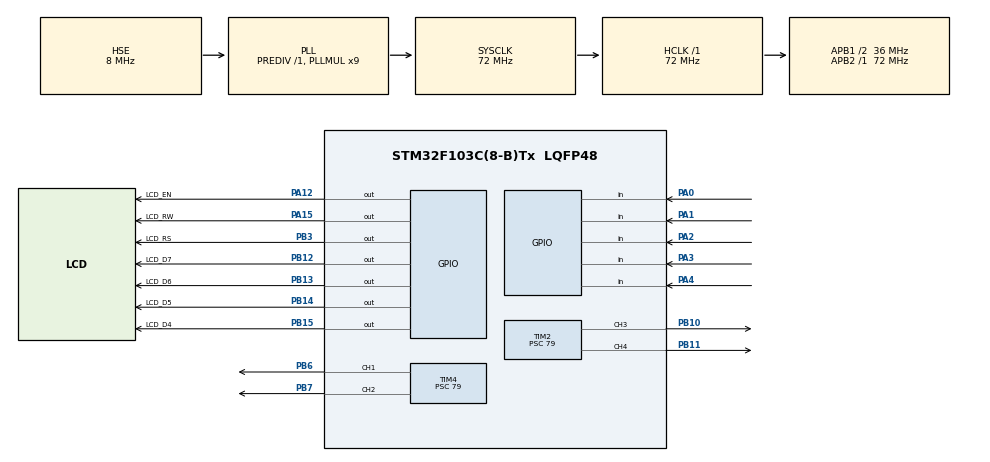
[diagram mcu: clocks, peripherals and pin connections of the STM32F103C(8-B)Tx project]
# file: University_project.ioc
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Mcu.Family=STM32F1
Mcu.Name=STM32F103C(8-B)Tx
Mcu.Package=LQFP48
NVIC.PriorityGroup=NVIC_PRIORITYGROUP_4
PA0-WKUP.Signal=GPIO_Input
PA1.Signal=GPIO_Input
PA12.GPIO_Label=LCD_EN
PA12.Signal=GPIO_Output
PA13.Mode=Serial_Wire
PA13.Signal=SYS_JTMS-SWDIO
PA14.Mode=Serial_Wire
PA14.Signal=SYS_JTCK-SWCLK
PA15.GPIO_Label=LCD_RW
PA15.Signal=GPIO_Output
PA2.Signal=GPIO_Input
PA3.Signal=GPIO_Input
PA4.Signal=GPIO_Input
PB10.Signal=S_TIM2_CH3
PB11.Signal=S_TIM2_CH4
PB12.GPIO_Label=LCD_D7
PB12.Signal=GPIO_Output
PB13.GPIO_Label=LCD_D6
PB13.Signal=GPIO_Output
PB14.GPIO_Label=LCD_D5
PB14.Signal=GPIO_Output
PB15.GPIO_Label=LCD_D4
PB15.Signal=GPIO_Output
PB3.GPIO_Label=LCD_RS
PB3.Signal=GPIO_Output
PB6.Signal=S_TIM4_CH1
PB7.Signal=S_TIM4_CH2
PC14-OSC32_IN.Mode=LSE-External-Oscillator
PC14-OSC32_IN.Signal=RCC_OSC32_IN
PC15-OSC32_OUT.Mode=LSE-External-Oscillator
PC15-OSC32_OUT.Signal=RCC_OSC32_OUT
PD0-OSC_IN.Mode=HSE-External-Oscillator
PD0-OSC_IN.Signal=RCC_OSC_IN
PD1-OSC_OUT.Mode=HSE-External-Oscillator
PD1-OSC_OUT.Signal=RCC_OSC_OUT
ProjectManager.HeapSize=0x200
ProjectManager.StackSize=0x400
ProjectManager.TargetToolchain=STM32CubeIDE
RCC.AHBFreq_Value=72000000
RCC.APB1CLKDivider=RCC_HCLK_DIV2
RCC.APB1Freq_Value=36000000
RCC.APB1TimFreq_Value=72000000
RCC.APB2Freq_Value=72000000
RCC.APB2TimFreq_Value=72000000
RCC.HCLKFreq_Value=72000000
RCC.PLLMUL=RCC_PLL_MUL9
RCC.PLLSourceVirtual=RCC_PLLSOURCE_HSE
RCC.SYSCLKFreq_VALUE=72000000
RCC.SYSCLKSource=RCC_SYSCLKSOURCE_PLLCLK
RCC.USBFreq_Value=72000000
SH.S_TIM2_CH3.0=TIM2_CH3,PWM Generation3 CH3
SH.S_TIM2_CH4.0=TIM2_CH4,PWM Generation4 CH4
SH.S_TIM4_CH1.0=TIM4_CH1,PWM Generation1 CH1
SH.S_TIM4_CH2.0=TIM4_CH2,PWM Generation2 CH2
TIM1.Period=0xffff-1
TIM1.Prescaler=72-1
TIM2.Channel-PWM\ Generation3\ CH3=TIM_CHANNEL_3
TIM2.Channel-PWM\ Generation4\ CH4=TIM_CHANNEL_4
TIM2.Period=999
TIM2.Prescaler=79
TIM2.Pulse-PWM\ Generation3\ CH3=500
TIM4.Channel-PWM\ Generation1\ CH1=TIM_CHANNEL_1
TIM4.Channel-PWM\ Generation2\ CH2=TIM_CHANNEL_2
TIM4.Period=999
TIM4.Prescaler=79
TIM4.Pulse-PWM\ Generation1\ CH1=500
VP_TIM1_VS_ClockSourceINT.Mode=Internal
VP_TIM2_VS_ClockSourceINT.Mode=Internal
VP_TIM4_VS_ClockSourceINT.Mode=Internal
board=custom

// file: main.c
/* USER CODE BEGIN Header */
/**
  ******************************************************************************
  * @file           : main.c
  * @brief          : Main program body
  ******************************************************************************
  * @attention
  *
  * Copyright (c) 2022 STMicroelectronics.
  * All rights reserved.
  *
  * This software is licensed under terms that can be found in the LICENSE file
  * in the root directory of this software component.
  * If no LICENSE file comes with this software, it is provided AS-IS.
  *
  ******************************************************************************
  */
/* USER CODE END Header */
#include "main.h"

/* USER CODE BEGIN Includes */
#include "LiquidCrystal.h"
//#include "string.h"
#include "stdio.h"
#include "stdint.h"
#include "stdbool.h"

/* USER CODE END Includes */

/* USER CODE BEGIN PD */
#define L1      HAL_GPIO_ReadPin(GPIOA,GPIO_PIN_0)
#define L2      HAL_GPIO_ReadPin(GPIOA,GPIO_PIN_1)
#define M       HAL_GPIO_ReadPin(GPIOA,GPIO_PIN_2)
#define R2      HAL_GPIO_ReadPin(GPIOA,GPIO_PIN_3)
#define R1      HAL_GPIO_ReadPin(GPIOA,GPIO_PIN_4)
#define Display
#define Scroll
#define Print_Path //AutoScroll
/* USER CODE END PD */

 TIM_HandleTypeDef htim1;
TIM_HandleTypeDef htim2;
TIM_HandleTypeDef htim4;

/* USER CODE BEGIN PV */
const int ARR = 10;
float Kp = 10;                  //set up the constants value
float Ki = 0.001;
float Kd = 0.5;
int P = 0 , I = 0, D = 0 ;
const uint8_t Max = 100;
const uint8_t basespeed = 36;
unsigned int sensor[5] = {0 , 0 , 0 , 0 ,0 }; // an array to hold sensor values
int error = 0 ;
int lastError = 0;

bool solving_mode = false; /// when robot strar to run the definatly unsolved
//string line_maze = "", solve_maze = ""; // Memory string
char path[100];  //array for storing path data of dry run
int pathLength=0;

/* USER CODE END PV */

void SystemClock_Config(void);
static void MX_GPIO_Init(void);
static void MX_TIM1_Init(void);
static void MX_TIM2_Init(void);
static void MX_TIM4_Init(void);
/* USER CODE BEGIN PFP */
int read_sensor();
float PID_control(float err);
void motorPIDcontrol(int base);
void Follow_The_Rules();
void Save_Path(char state);  //saves dry run data
void Go_one_step();
void TAKE_U_TURN();
void GO_RIGHT();
void GO_LEFT();
void End_Point();
void maze_solving();
void Decession(char Command);

/* USER CODE END PFP */

/* USER CODE BEGIN 0 */
//----------------------------------------------------------delay_us-------------------------------------------------
void delay_us (uint16_t us)
{
	__HAL_TIM_SET_COUNTER(&htim1,0);  // set the counter value a 0
	while (__HAL_TIM_GET_COUNTER(&htim1) < us);  // wait for the counter to reach the us input in the parameter
}

//----------------------------------------------------------motor_control-------------------------------------------------------
void motor_control (double pos_left, double pos_right)
{
	if (pos_left < 0 )             // left
	{
		__HAL_TIM_SET_COMPARE (&htim2, TIM_CHANNEL_3, ARR*0);
		__HAL_TIM_SET_COMPARE (&htim2, TIM_CHANNEL_4, ARR*pos_left);
	}
	else
	{
		__HAL_TIM_SET_COMPARE (&htim2, TIM_CHANNEL_3, ARR*pos_left);
		__HAL_TIM_SET_COMPARE (&htim2, TIM_CHANNEL_4, ARR*0);
	}
	if (pos_right < 0 )          // right
	{
		__HAL_TIM_SET_COMPARE (&htim4, TIM_CHANNEL_1, ARR*0);
		__HAL_TIM_SET_COMPARE (&htim4, TIM_CHANNEL_2, ARR*pos_right);
	}
	else
	{
		__HAL_TIM_SET_COMPARE (&htim4, TIM_CHANNEL_1, ARR*pos_right);
		__HAL_TIM_SET_COMPARE (&htim4, TIM_CHANNEL_2, ARR*0);
	}
}

/*-----------------------------------------------------------Forward-------------------------------------------------------*/
void Forward(double pos_left,double pos_right)
{
	__HAL_TIM_SET_COMPARE (&htim2, TIM_CHANNEL_3, ARR*pos_left);
	__HAL_TIM_SET_COMPARE (&htim2, TIM_CHANNEL_4, ARR*0);

	__HAL_TIM_SET_COMPARE (&htim4, TIM_CHANNEL_1, ARR*pos_right);
	__HAL_TIM_SET_COMPARE (&htim4, TIM_CHANNEL_2, ARR*0);
}
/*-----------------------------------------------------------Backward-------------------------------------------------------*/
void Backward(double pos_left,double pos_right)
{
	__HAL_TIM_SET_COMPARE (&htim2, TIM_CHANNEL_3, ARR*0);
	__HAL_TIM_SET_COMPARE (&htim2, TIM_CHANNEL_4, ARR*pos_left);

	__HAL_TIM_SET_COMPARE (&htim4, TIM_CHANNEL_1, ARR*0);
	__HAL_TIM_SET_COMPARE (&htim4, TIM_CHANNEL_2, ARR*pos_right);
}
/*---------------------------------------------------------------stop--------------------------------------------------------------*/
void stop()
{
	__HAL_TIM_SET_COMPARE (&htim2, TIM_CHANNEL_3, ARR*0);    // left
	__HAL_TIM_SET_COMPARE (&htim2, TIM_CHANNEL_4, ARR*0);

	__HAL_TIM_SET_COMPARE (&htim4, TIM_CHANNEL_1, ARR*0);   // right
	__HAL_TIM_SET_COMPARE (&htim4, TIM_CHANNEL_2, ARR*0);
}
/*-------------------------------------------------------------------Turn_Right------------------------------------------------------------*/
void Turn_Right(double pos_left,double pos_right)
{
	__HAL_TIM_SET_COMPARE (&htim2, TIM_CHANNEL_3, ARR*pos_left);   // left
	__HAL_TIM_SET_COMPARE (&htim2, TIM_CHANNEL_4, ARR*0);

	__HAL_TIM_SET_COMPARE (&htim4, TIM_CHANNEL_1, ARR*0);
	__HAL_TIM_SET_COMPARE (&htim4, TIM_CHANNEL_2, ARR*pos_right);  // right
}
/*-------------------------------------------------------------------Turn_Left----------------------------------------------------------*/
void Turn_Left(double pos_left,double pos_right)
{
	__HAL_TIM_SET_COMPARE (&htim2, TIM_CHANNEL_3, ARR*0);   // left
	__HAL_TIM_SET_COMPARE (&htim2, TIM_CHANNEL_4, ARR*pos_left);

	__HAL_TIM_SET_COMPARE (&htim4, TIM_CHANNEL_1, ARR*pos_right);
	__HAL_TIM_SET_COMPARE (&htim4, TIM_CHANNEL_2, ARR*0);  // right
}
//++++++++++++++++++++++++++++++++++++++++++++++++++++++++++++++++++++++++++++++++++++++++++++++

/* USER CODE END 0 */

int main(void)
{

  /* MCU Configuration--------------------------------------------------------*/

  /* Reset of all peripherals, Initializes the Flash interface and the Systick. */
  HAL_Init();

  /* Configure the system clock */
  SystemClock_Config();

  /* Initialize all configured peripherals */
  MX_GPIO_Init();
  MX_TIM1_Init();
  MX_TIM2_Init();
  MX_TIM4_Init();
  /* USER CODE BEGIN 2 */
  HAL_TIM_Base_Start(&htim1);
  HAL_TIM_Base_Start(&htim2);
  HAL_TIM_Base_Start(&htim4);
  HAL_TIM_PWM_Start(&htim2,TIM_CHANNEL_3);                       //starts the PMW of left motor
  HAL_TIM_PWM_Start(&htim2,TIM_CHANNEL_4);
  HAL_TIM_PWM_Start(&htim4,TIM_CHANNEL_1);                       //starts the PMW of right motor
  HAL_TIM_PWM_Start(&htim4,TIM_CHANNEL_2);
  /* USER CODE END 2 */

  /* Infinite loop */
  /* USER CODE BEGIN WHILE */
/*
#ifdef AutoScroll
  char buffer[10];
  LiquidCrystal lcd;
  begin(&lcd,16,2,LCD_5x8DOTS);
#endif
*/

  unsigned char smiley[8] = {
    0b00000,
    0b00000,
    0b01010,
    0b00000,
    0b00000,
    0b10001,
    0b01110,
    0b00000
  };

#ifdef Display
LiquidCrystal lcd;
begin(&lcd,16,2,LCD_5x8DOTS);
// create a new character
createChar(&lcd, 1, smiley);
// set the cursor to the top left
setCursor(&lcd, 0, 0);
print(&lcd, "MICROMOUSE PR0" );
write(&lcd,(unsigned char)1);
HAL_Delay(3000);
#endif

  while (1)
  {
    /* USER CODE END WHILE */

    /* USER CODE BEGIN 3 */

    if((L1 == 1 && R1 == 1) && (L2 == 0 ||  M == 0  || R2 == 0))  //10001
      	  {

    	  motorPIDcontrol(basespeed);

      	  }
          else
       	  {
        	  Follow_The_Rules();
       	  }

  }
  /* USER CODE END 3 */
}

void SystemClock_Config(void)
{
  RCC_OscInitTypeDef RCC_OscInitStruct = {0};
  RCC_ClkInitTypeDef RCC_ClkInitStruct = {0};

  /** Initializes the RCC Oscillators according to the specified parameters
  * in the RCC_OscInitTypeDef structure.
  */
  RCC_OscInitStruct.OscillatorType = RCC_OSCILLATORTYPE_HSE;
  RCC_OscInitStruct.HSEState = RCC_HSE_ON;
  RCC_OscInitStruct.HSEPredivValue = RCC_HSE_PREDIV_DIV1;
  RCC_OscInitStruct.HSIState = RCC_HSI_ON;
  RCC_OscInitStruct.PLL.PLLState = RCC_PLL_ON;
  RCC_OscInitStruct.PLL.PLLSource = RCC_PLLSOURCE_HSE;
  RCC_OscInitStruct.PLL.PLLMUL = RCC_PLL_MUL9;
  if (HAL_RCC_OscConfig(&RCC_OscInitStruct) != HAL_OK)
  {
    Error_Handler();
  }

  /** Initializes the CPU, AHB and APB buses clocks
  */
  RCC_ClkInitStruct.ClockType = RCC_CLOCKTYPE_HCLK|RCC_CLOCKTYPE_SYSCLK
                              |RCC_CLOCKTYPE_PCLK1|RCC_CLOCKTYPE_PCLK2;
  RCC_ClkInitStruct.SYSCLKSource = RCC_SYSCLKSOURCE_PLLCLK;
  RCC_ClkInitStruct.AHBCLKDivider = RCC_SYSCLK_DIV1;
  RCC_ClkInitStruct.APB1CLKDivider = RCC_HCLK_DIV2;
  RCC_ClkInitStruct.APB2CLKDivider = RCC_HCLK_DIV1;

  if (HAL_RCC_ClockConfig(&RCC_ClkInitStruct, FLASH_LATENCY_2) != HAL_OK)
  {
    Error_Handler();
  }
}

static void MX_TIM1_Init(void)
{

  TIM_ClockConfigTypeDef sClockSourceConfig = {0};
  TIM_MasterConfigTypeDef sMasterConfig = {0};

  htim1.Instance = TIM1;
  htim1.Init.Prescaler = 72-1;
  htim1.Init.CounterMode = TIM_COUNTERMODE_UP;
  htim1.Init.Period = 0xffff-1;
  htim1.Init.ClockDivision = TIM_CLOCKDIVISION_DIV1;
  htim1.Init.RepetitionCounter = 0;
  htim1.Init.AutoReloadPreload = TIM_AUTORELOAD_PRELOAD_DISABLE;
  if (HAL_TIM_Base_Init(&htim1) != HAL_OK)
  {
    Error_Handler();
  }
  sClockSourceConfig.ClockSource = TIM_CLOCKSOURCE_INTERNAL;
  if (HAL_TIM_ConfigClockSource(&htim1, &sClockSourceConfig) != HAL_OK)
  {
    Error_Handler();
  }
  sMasterConfig.MasterOutputTrigger = TIM_TRGO_RESET;
  sMasterConfig.MasterSlaveMode = TIM_MASTERSLAVEMODE_DISABLE;
  if (HAL_TIMEx_MasterConfigSynchronization(&htim1, &sMasterConfig) != HAL_OK)
  {
    Error_Handler();
  }

}

static void MX_TIM2_Init(void)
{

  TIM_ClockConfigTypeDef sClockSourceConfig = {0};
  TIM_MasterConfigTypeDef sMasterConfig = {0};
  TIM_OC_InitTypeDef sConfigOC = {0};

  htim2.Instance = TIM2;
  htim2.Init.Prescaler = 79;
  htim2.Init.CounterMode = TIM_COUNTERMODE_UP;
  htim2.Init.Period = 999;
  htim2.Init.ClockDivision = TIM_CLOCKDIVISION_DIV1;
  htim2.Init.AutoReloadPreload = TIM_AUTORELOAD_PRELOAD_DISABLE;
  if (HAL_TIM_Base_Init(&htim2) != HAL_OK)
  {
    Error_Handler();
  }
  sClockSourceConfig.ClockSource = TIM_CLOCKSOURCE_INTERNAL;
  if (HAL_TIM_ConfigClockSource(&htim2, &sClockSourceConfig) != HAL_OK)
  {
    Error_Handler();
  }
  if (HAL_TIM_PWM_Init(&htim2) != HAL_OK)
  {
    Error_Handler();
  }
  sMasterConfig.MasterOutputTrigger = TIM_TRGO_RESET;
  sMasterConfig.MasterSlaveMode = TIM_MASTERSLAVEMODE_DISABLE;
  if (HAL_TIMEx_MasterConfigSynchronization(&htim2, &sMasterConfig) != HAL_OK)
  {
    Error_Handler();
  }
  sConfigOC.OCMode = TIM_OCMODE_PWM1;
  sConfigOC.Pulse = 500;
  sConfigOC.OCPolarity = TIM_OCPOLARITY_HIGH;
  sConfigOC.OCFastMode = TIM_OCFAST_DISABLE;
  if (HAL_TIM_PWM_ConfigChannel(&htim2, &sConfigOC, TIM_CHANNEL_3) != HAL_OK)
  {
    Error_Handler();
  }
  sConfigOC.Pulse = 0;
  if (HAL_TIM_PWM_ConfigChannel(&htim2, &sConfigOC, TIM_CHANNEL_4) != HAL_OK)
  {
    Error_Handler();
  }
  HAL_TIM_MspPostInit(&htim2);

}

static void MX_TIM4_Init(void)
{

  TIM_ClockConfigTypeDef sClockSourceConfig = {0};
  TIM_MasterConfigTypeDef sMasterConfig = {0};
  TIM_OC_InitTypeDef sConfigOC = {0};

  htim4.Instance = TIM4;
  htim4.Init.Prescaler = 79;
  htim4.Init.CounterMode = TIM_COUNTERMODE_UP;
  htim4.Init.Period = 999;
  htim4.Init.ClockDivision = TIM_CLOCKDIVISION_DIV1;
  htim4.Init.AutoReloadPreload = TIM_AUTORELOAD_PRELOAD_DISABLE;
  if (HAL_TIM_Base_Init(&htim4) != HAL_OK)
  {
    Error_Handler();
  }
  sClockSourceConfig.ClockSource = TIM_CLOCKSOURCE_INTERNAL;
  if (HAL_TIM_ConfigClockSource(&htim4, &sClockSourceConfig) != HAL_OK)
  {
    Error_Handler();
  }
  if (HAL_TIM_PWM_Init(&htim4) != HAL_OK)
  {
    Error_Handler();
  }
  sMasterConfig.MasterOutputTrigger = TIM_TRGO_RESET;
  sMasterConfig.MasterSlaveMode = TIM_MASTERSLAVEMODE_DISABLE;
  if (HAL_TIMEx_MasterConfigSynchronization(&htim4, &sMasterConfig) != HAL_OK)
  {
    Error_Handler();
  }
  sConfigOC.OCMode = TIM_OCMODE_PWM1;
  sConfigOC.Pulse = 500;
  sConfigOC.OCPolarity = TIM_OCPOLARITY_HIGH;
  sConfigOC.OCFastMode = TIM_OCFAST_DISABLE;
  if (HAL_TIM_PWM_ConfigChannel(&htim4, &sConfigOC, TIM_CHANNEL_1) != HAL_OK)
  {
    Error_Handler();
  }
  sConfigOC.Pulse = 0;
  if (HAL_TIM_PWM_ConfigChannel(&htim4, &sConfigOC, TIM_CHANNEL_2) != HAL_OK)
  {
    Error_Handler();
  }
  HAL_TIM_MspPostInit(&htim4);

}

static void MX_GPIO_Init(void)
{
  GPIO_InitTypeDef GPIO_InitStruct = {0};

  /* GPIO Ports Clock Enable */
  __HAL_RCC_GPIOC_CLK_ENABLE();
  __HAL_RCC_GPIOD_CLK_ENABLE();
  __HAL_RCC_GPIOA_CLK_ENABLE();
  __HAL_RCC_GPIOB_CLK_ENABLE();

  /*Configure GPIO pin Output Level */
  HAL_GPIO_WritePin(GPIOB, LCD_D7_Pin|LCD_D6_Pin|LCD_D5_Pin|LCD_D4_Pin
                          |LCD_RS_Pin, GPIO_PIN_RESET);

  /*Configure GPIO pin Output Level */
  HAL_GPIO_WritePin(GPIOA, LCD_EN_Pin|LCD_RW_Pin, GPIO_PIN_RESET);

  /*Configure GPIO pins : PA0 PA1 PA2 PA3
                           PA4 */
  GPIO_InitStruct.Pin = GPIO_PIN_0|GPIO_PIN_1|GPIO_PIN_2|GPIO_PIN_3
                          |GPIO_PIN_4;
  GPIO_InitStruct.Mode = GPIO_MODE_INPUT;
  GPIO_InitStruct.Pull = GPIO_NOPULL;
  HAL_GPIO_Init(GPIOA, &GPIO_InitStruct);

  /*Configure GPIO pins : LCD_D7_Pin LCD_D6_Pin LCD_D5_Pin LCD_D4_Pin
                           LCD_RS_Pin */
  GPIO_InitStruct.Pin = LCD_D7_Pin|LCD_D6_Pin|LCD_D5_Pin|LCD_D4_Pin
                          |LCD_RS_Pin;
  GPIO_InitStruct.Mode = GPIO_MODE_OUTPUT_PP;
  GPIO_InitStruct.Pull = GPIO_NOPULL;
  GPIO_InitStruct.Speed = GPIO_SPEED_FREQ_LOW;
  HAL_GPIO_Init(GPIOB, &GPIO_InitStruct);

  /*Configure GPIO pins : LCD_EN_Pin LCD_RW_Pin */
  GPIO_InitStruct.Pin = LCD_EN_Pin|LCD_RW_Pin;
  GPIO_InitStruct.Mode = GPIO_MODE_OUTPUT_PP;
  GPIO_InitStruct.Pull = GPIO_NOPULL;
  GPIO_InitStruct.Speed = GPIO_SPEED_FREQ_LOW;
  HAL_GPIO_Init(GPIOA, &GPIO_InitStruct);

}

/* USER CODE BEGIN 4 */
int read_sensor()
{
sensor[0]= L1 ; //HAL_GPIO_ReadPin(GPIOA,GPIO_PIN_0);
sensor[1]= L2 ; //HAL_GPIO_ReadPin(GPIOA,GPIO_PIN_1);
sensor[2]= M ; //HAL_GPIO_ReadPin(GPIOA,GPIO_PIN_2);
sensor[3]= R2 ; //HAL_GPIO_ReadPin(GPIOA,GPIO_PIN_3);
sensor[4]= R1 ; // HAL_GPIO_ReadPin(GPIOA,GPIO_PIN_4);

    if(sensor[0] == 1 && sensor[1] == 0 && sensor[2] == 1 && sensor[3] == 1 && sensor[4] == 1)          //10111
	  {
    	    error= -2;

	  }
    else if(sensor[0] == 1 && sensor[1] == 0 && sensor[2] == 0 && sensor[3] == 1 && sensor[4] == 1)     //10011
 	  {
 	  	    error= -1;

 	  }
    else if(sensor[0] == 1 && sensor[1] == 1 && sensor[2] == 0 && sensor[3] == 1 && sensor[4] == 1)     //11011
	  {
	  	    error= 0;

	  }
    else if(sensor[0] == 1 && sensor[1] == 1 && sensor[2] == 0 && sensor[3] == 0 && sensor[4] == 1)     //11001
 	  {
 	  	    error= 1;

 	  }
    else if(sensor[0] == 1 && sensor[1] == 1 && sensor[2] == 1 && sensor[3] == 0 && sensor[4] == 1)   //11101
	  {
			error= 2;
	  }
    else if(sensor[0] == 0 && sensor[1] == 1 && sensor[2] == 1 && sensor[3] == 1 && sensor[4] == 1)   //01111
	  {
			error= -4;
	  }
    else if(sensor[0] == 1 && sensor[1] == 1 && sensor[2] == 1 && sensor[3] == 1 && sensor[4] == 0)   //11110
	  {
			error= 4;
	  }
    else if(sensor[0] == 0 && sensor[1] == 0 && sensor[2] == 1 && sensor[3] == 1 && sensor[4] == 1)   //00111
	  {
			error= -3;
	  }
    else if(sensor[0] == 1 && sensor[1] == 1 && sensor[2] == 1 && sensor[3] == 0 && sensor[4] == 0)   //11100
	  {
			error= 3;
	  }
    else               //if(sensor[0] == 1 && sensor[1] == 1 && sensor[2] == 1 && sensor[3] == 1 && sensor[4] == 1)    //11111
	  {
			stop();
	  }
		return error;
}
/* ------------------------------------------------------------------------------------------------------- */
float PID_control(float Error)
{
	Error = read_sensor();
	 D = Error - lastError;

	 float PID = (Kp * Error) + ( D * Kd) ;
	 lastError = Error;
	return PID;
}

/* ------------------------------------------------------------------------------------------------------- */
void motorPIDcontrol(int base)
{

	 Forward( base + (PID_control(read_sensor())), base - (PID_control(read_sensor())));
}
// -------------------------------------------------------------------------------------------------------
//if (far right -R1- and far left -L1- got line), so robot encountered "T" or "+" type or "end of maze" line,
//then go one step and read sensor,
//1) if we again get (far right -R1- and far left -L1- both got line), sure it is "end of maze".
//2) if we get (far right -R1- and mid right -R2- both line missing and any line sensor get the line),
//sure it is "+" line then go left , as though it is junction , save "L" to the memory.
//3) if we get (all of the sensor missing line) then sure it is "T" line,
//then go left and save "L" to the memory.
//Note : no matter it is "T" or "+" robot must go to left and this is "the left hand rule" ,
//so here i just check , (1) and (3) number conditions.

void Follow_The_Rules()
{
	if(L1 == 0 &&  R1 == 0) //00000
	{
		stop();
		HAL_Delay(500);
		Go_one_step();
		if(L1 == 0 &&  R1 == 0)  //00000
		{
		stop();           //Finish_Point();
		End_Point();
		}
		if(L1 == 1 &&  R1 == 1)
		{
			GO_LEFT();
			if (!solving_mode) {
				Save_Path('L');          //value ‘L’ saved for left turn ** line_maze += "L";
				LiquidCrystal lcd;
				begin(&lcd,16,2,LCD_5x8DOTS);
				print(&lcd,"Left");

			}
		}
	}
// --------------------------------------------------------------------------------------------------------
//if far left got the line , so robot encountered "left turn" or "-|" type of line, go one step and read sensor,
//1) if (any line sensors (R2,M,L2) got the line), then sure it is junction and "-|" line it is then,
// go left and save "L"  to the memory.
//2) if (all of the sensors missing line) , then sure it is "left turn"
//then go left and doesn't save anything.

	if(L1 == 0 ) //00011
	{
		Go_one_step();
		if(L1 == 0 &&  R1 == 0)  //00000
		{
		End_Point();//	Finish_Point();
		}
		if( L2 == 0 || M == 0 || R2 == 0 ) //00011
		{
			Save_Path('L');
			LiquidCrystal lcd;
			begin(&lcd,16,2,LCD_5x8DOTS);
			print(&lcd,"Left");
			GO_LEFT();
		}
		else
		{
			LiquidCrystal lcd;
			begin(&lcd,16,2,LCD_5x8DOTS);
			print(&lcd,"Left");
			GO_LEFT();

		}
	}
// ------------------------------------------------------------------------------------------------------------------
//if far right got the line , so robot encountered "right turn" or "|-"  type of line, go one step and read sensor,
//1) if (any line sensor got the line),  sure it is "|-"  line  then, go forward and save "S"  to the memory.
//2) if (all of the sensor missing line) , sure it is "right turn" then go right and doesn't save anything.

	if(R1 == 0 ) //00011
	{
		Go_one_step();
		if( L2 == 0 || M == 0 || R2 == 0 ) //00011
		{
			Save_Path('S');
			 motorPIDcontrol(basespeed);
				LiquidCrystal lcd;
				begin(&lcd,16,2,LCD_5x8DOTS);
				print(&lcd,"GO");

		}
		else
		{
			LiquidCrystal lcd;
			begin(&lcd,16,2,LCD_5x8DOTS);
			print(&lcd,"Right");
			GO_RIGHT();
		}
	}

//-----------------------------------------------------------------------------------------------------
 //if (suddenly all of the sensor missing line) ,sure we reached the "dead end", then take U turn. */
	if(L1 == 1 && L2 == 1 && M == 1 && R2 == 1 && R1 == 1)
	{
		 TAKE_U_TURN();
	}
}
//------------------------------------------------------------------------------------------------------

void Save_Path(char state)
{
	 path[pathLength] = state;
	 pathLength++;
	 HAL_Delay(1);
}

//---------------------------------------------------------Go_one_step
void Go_one_step()
{
	Forward(35,35);
	HAL_Delay(150);
	stop();
	HAL_Delay(500);
	read_sensor();
}
//--------------------------------------------------------TAKE_U_TURN
  //IF ROBOT DOESN'T SOLVE THE LINE YET, SAVE "B" IF HE TAKE U TURN
void TAKE_U_TURN()
{
	 if (!solving_mode)
	 {
		 Save_Path('B');
			LiquidCrystal lcd;
			begin(&lcd,16,2,LCD_5x8DOTS);
			print(&lcd,"Back");
	 }
	    Go_one_step();  // GO ONE STEP FOR MAKE SURE THAT LINE IS MISSING UNDER THE SENSORS

	   // WHEN ROBOT TURNNING AROUND, IT REVOLVING UNTIL THE 1TH NUMBER (2ND SENSOR) GET THE LINE, AND FOR (i) LOW INERTIA OF MOTORS (ii) VELOCITY
	       // ROBOT STOP ABOUT THE 4TH OR 3RD NUMBER SENSOR (this is lack of Accuracy of the motors)
	    while ( M != 0)
	    {
	      read_sensor();
	      Turn_Left(40,40);  //180 degree
	    }
	    stop();
	    HAL_Delay(1000);

}
//--------------------------------------------------------TURN RIGHT
void GO_RIGHT()
{
	 Go_one_step();
	  while ( R1 != 0) {
		  read_sensor();
		Turn_Right(60,0);
	  }
	    stop();
	    HAL_Delay(1000);
}
//-------------------------------------------------------TURN LEFT
void GO_LEFT()
{
	 Go_one_step();
	  while ( L2 != 0) {
		  read_sensor();
		  Turn_Left(0,60);
	  }
	    stop();
	    HAL_Delay(1000);

}
//---------------------------------------------------------------------------End_Point
void End_Point()
{
	if (!solving_mode)
	{

#ifdef Print_Path
		LiquidCrystal lcd;
		begin(&lcd,16,2,LCD_5x8DOTS);
		print(&lcd,"Reading Path :");
		HAL_Delay(1000);
	  clear(&lcd);
	setCursor(&lcd, 0, 0);
	for ( pathLength = 0; pathLength < 100; pathLength++) {
		write(&lcd, path[pathLength]);
		HAL_Delay(500);
	}
	// turn off automatic scrolling
	noAutoscroll(&lcd);

	// clear screen for the next loop:
	clear(&lcd);
#endif
   // solve_the_maze();
	Save_Path ('O');
	//msg
    solving_mode = true;
    //REPLY();

	}
	else stop();

}
//---------------------------------------Maze Solving------------------------------------------
void maze_solving()
{
	  bool maze_solved = false;
	  while (!maze_solved)
	  {

	  }
}
//----------------------------------------------------------

//---------------------------------------------------------------------------------Decession
void Decession(char Command)
{
  switch (Command) {
    case 'S':
      Go_one_step();
      break;

    case 'R':
      GO_RIGHT();
      break;

    case 'L':
      GO_LEFT();
      break;

    case 'O':
    	End_Point();
      break;
  }
}

/* USER CODE END 4 */

void Error_Handler(void)
{
  __disable_irq();
  while (1)
  {
  }
}
